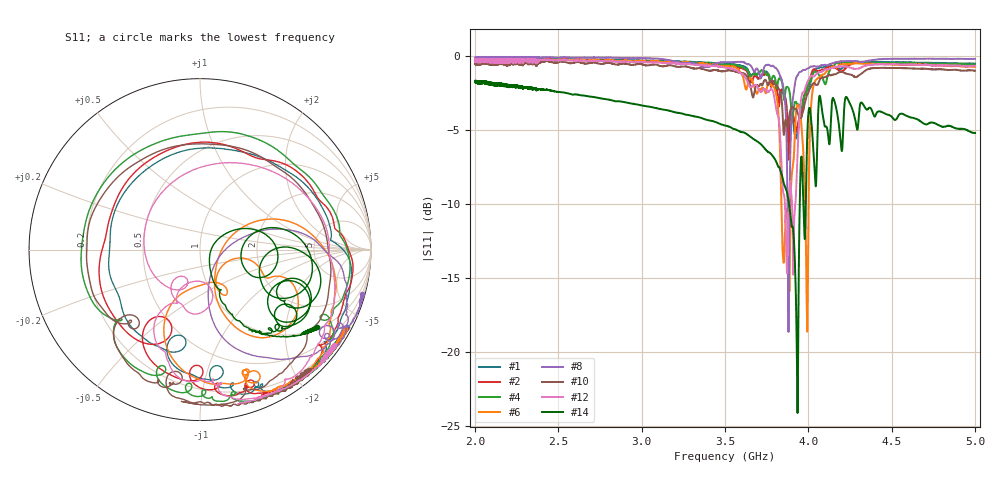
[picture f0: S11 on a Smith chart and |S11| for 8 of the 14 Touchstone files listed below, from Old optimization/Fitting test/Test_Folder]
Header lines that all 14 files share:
!Agilent Technologies,E5071C,MY46214220,A.11.31
!Data & Calibration Information:
!Freq	S11:SOLT1(ON)
!PortZ  Port1:50+j0
!Above PortZ is port z conversion or system Z0 setting when saving the data.
!When reading, reference impedance value at option line is always used.
# Hz S dB R 50
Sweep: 2 GHz to 5 GHz
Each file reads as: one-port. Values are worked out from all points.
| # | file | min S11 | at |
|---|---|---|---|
| 1 | RES_1A.S1P | -5.8 dB | 3.88 GHz |
| 2 | RES_1B.S1P | -7.0 dB | 3.883 GHz |
| 3 | RES_1K.S1P | -3.6 dB | 4.509 GHz |
| 4 | RES_2B.S1P | -4.3 dB | 3.903 GHz |
| 5 | RES_3B.S1P | -3.3 dB | 3.928 GHz |
| 6 | RES_4B.S1P | -18.6 dB | 3.993 GHz |
| 7 | RES_5B.S1P | -15.8 dB | 3.879 GHz |
| 8 | RES_6A.S1P | -18.6 dB | 3.881 GHz |
| 9 | RES_6B.S1P | -41.8 dB | 3.897 GHz |
| 10 | RES_7B.S1P | -5.3 dB | 3.853 GHz |
| 11 | RES_7G.S1P | -34.9 dB | 3.934 GHz |
| 12 | RES_8A.S1P | -14.8 dB | 3.909 GHz |
| 13 | RES_8B.S1P | -6.7 dB | 3.853 GHz |
| 14 | RES_8G.S1P | -24.1 dB | 3.935 GHz |
